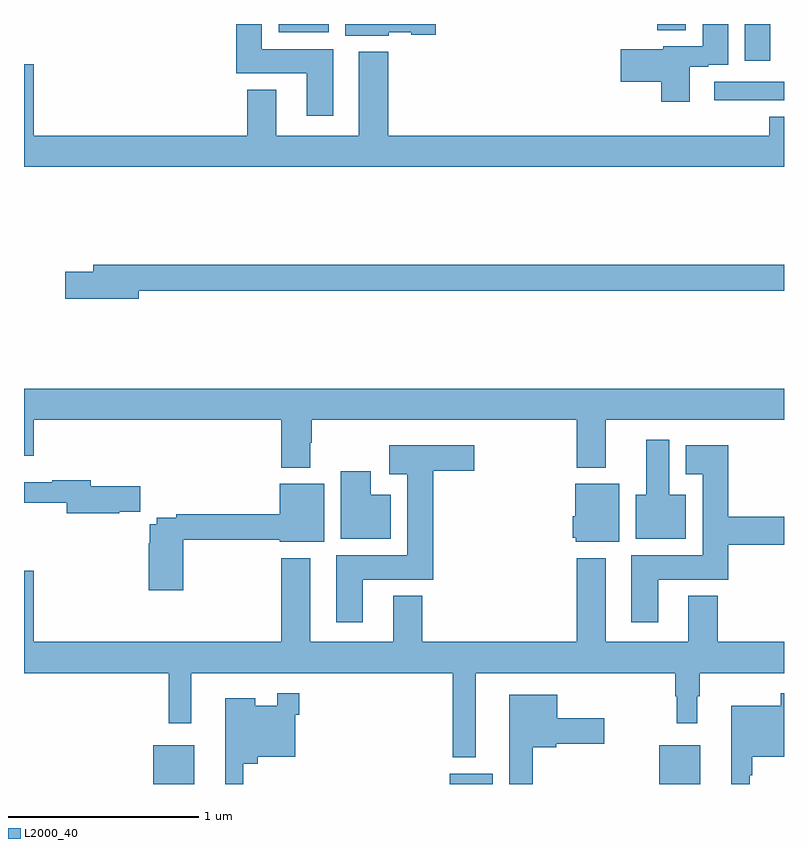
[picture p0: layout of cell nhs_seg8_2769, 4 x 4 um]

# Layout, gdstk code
import gdstk
lib = gdstk.Library(unit=1e-6, precision=1e-09)
def R(c, l, rs):  # rectangles x0, y0, x1, y1
    for r in rs: c.add(gdstk.rectangle(r[:2], r[2:], *l))
def P(c, l, *ps):  # polygons
    for p in ps: c.add(gdstk.Polygon(p, *l))
L2000_40 = (2000, 40)

nhs_seg8_2769 = lib.new_cell('nhs_seg8_2769')
R(nhs_seg8_2769, L2000_40, [(285.68,1131.9,285.895,1132.105), (287.24,1131.9,287.467,1131.955), (288.344,1131.9,288.559,1132.105), (288.633,1135.5,289,1135.596), (288.794,1135.706,288.928,1135.9), (286.34,1135.856,286.603,1135.9), (288.332,1135.867,288.484,1135.9)])
P(nhs_seg8_2769, L2000_40, [(288.505,1135.674),(288.602,1135.674),(288.602,1135.686),(288.706,1135.686),(288.706,1135.9),(288.572,1135.9),(288.572,1135.782),(288.365,1135.782),(288.365,1135.766),(288.141,1135.766),(288.141,1135.595),(288.353,1135.595),(288.353,1135.491),(288.505,1135.491)],
  [(286.627,1135.768),(286.252,1135.768),(286.252,1135.9),(286.118,1135.9),(286.118,1135.64),(286.487,1135.64),(286.487,1135.416),(286.627,1135.416)],
  [(286.92,1135.856),(287.037,1135.856),(287.037,1135.844),(287.167,1135.844),(287.167,1135.9),(286.691,1135.9),(286.691,1135.838),(286.92,1135.838)],
  [(289,1135.411),(288.923,1135.411),(288.923,1135.312),(286.916,1135.312),(286.916,1135.753),(286.763,1135.753),(286.763,1135.312),(286.327,1135.312),(286.327,1135.555),(286.175,1135.555),(286.175,1135.312),(285.052,1135.312),(285.052,1135.687),(285,1135.687),(285,1135.148),(289,1135.148)],
  [(285.604,1134.496),(289,1134.496),(289,1134.632),(285.365,1134.632),(285.365,1134.596),(285.216,1134.596),(285.216,1134.454),(285.604,1134.454)],
  [(286.507,1133.696),(286.515,1133.696),(286.515,1133.816),(287.909,1133.816),(287.909,1133.564),(288.061,1133.564),(288.061,1133.816),(289,1133.816),(289,1133.98),(285,1133.98),(285,1133.628),(285.052,1133.628),(285.052,1133.816),(286.355,1133.816),(286.355,1133.564),(286.507,1133.564)],
  [(288.484,1133.422),(288.397,1133.422),(288.397,1133.713),(288.275,1133.713),(288.275,1133.422),(288.221,1133.422),(288.221,1133.192),(288.484,1133.192)],
  [(286.783,1132.976),(287.153,1132.976),(287.153,1133.549),(287.371,1133.549),(287.371,1133.683),(286.923,1133.683),(286.923,1133.531),(287.018,1133.531),(287.018,1133.104),(286.643,1133.104),(286.643,1132.752),(286.783,1132.752)],
  [(288.337,1132.976),(288.707,1132.976),(288.707,1133.159),(289,1133.159),(289,1133.306),(288.707,1133.306),(288.707,1133.683),(288.482,1133.683),(288.482,1133.531),(288.572,1133.531),(288.572,1133.104),(288.197,1133.104),(288.197,1132.752),(288.337,1132.752)],
  [(286.93,1133.422),(286.825,1133.422),(286.825,1133.545),(286.667,1133.545),(286.667,1133.192),(286.93,1133.192)],
  [(285.5,1133.332),(285.613,1133.332),(285.613,1133.466),(285.352,1133.466),(285.352,1133.5),(285.148,1133.5),(285.148,1133.488),(285,1133.488),(285,1133.379),(285.224,1133.379),(285.224,1133.324),(285.5,1133.324)],
  [(285.839,1133.185),(286.346,1133.185),(286.346,1133.174),(286.579,1133.174),(286.579,1133.479),(286.346,1133.479),(286.346,1133.321),(285.802,1133.321),(285.802,1133.301),(285.698,1133.301),(285.698,1133.268),(285.662,1133.268),(285.662,1133.168),(285.656,1133.168),(285.656,1132.92),(285.839,1132.92)],
  [(288.133,1133.479),(287.9,1133.479),(287.9,1133.31),(287.888,1133.31),(287.888,1133.196),(287.904,1133.196),(287.904,1133.174),(288.133,1133.174)],
  [(287.377,1132.484),(288.427,1132.484),(288.427,1132.361),(288.435,1132.361),(288.435,1132.221),(288.544,1132.221),(288.544,1132.361),(288.556,1132.361),(288.556,1132.484),(289,1132.484),(289,1132.648),(288.65,1132.648),(288.65,1132.891),(288.497,1132.891),(288.497,1132.648),(288.061,1132.648),(288.061,1133.089),(287.909,1133.089),(287.909,1132.648),(287.096,1132.648),(287.096,1132.891),(286.943,1132.891),(286.943,1132.648),(286.507,1132.648),(286.507,1133.089),(286.355,1133.089),(286.355,1132.648),(285.052,1132.648),(285.052,1133.023),(285,1133.023),(285,1132.484),(285.763,1132.484),(285.763,1132.221),(285.88,1132.221),(285.88,1132.484),(287.256,1132.484),(287.256,1132.04),(287.377,1132.04)],
  [(288.819,1131.947),(288.832,1131.947),(288.832,1132.043),(289,1132.043),(289,1132.378),(288.984,1132.378),(288.984,1132.312),(288.722,1132.312),(288.722,1131.9),(288.819,1131.9)],
  [(286.155,1132.007),(286.229,1132.007),(286.229,1132.043),(286.428,1132.043),(286.428,1132.265),(286.448,1132.265),(286.448,1132.378),(286.332,1132.378),(286.332,1132.312),(286.216,1132.312),(286.216,1132.351),(286.058,1132.351),(286.058,1131.9),(286.155,1131.9)],
  [(287.677,1132.094),(287.802,1132.094),(287.802,1132.112),(288.055,1132.112),(288.055,1132.246),(287.806,1132.246),(287.806,1132.369),(287.555,1132.369),(287.555,1131.9),(287.677,1131.9)])

lib.write_gds('nhs_seg8_2769.gds')
